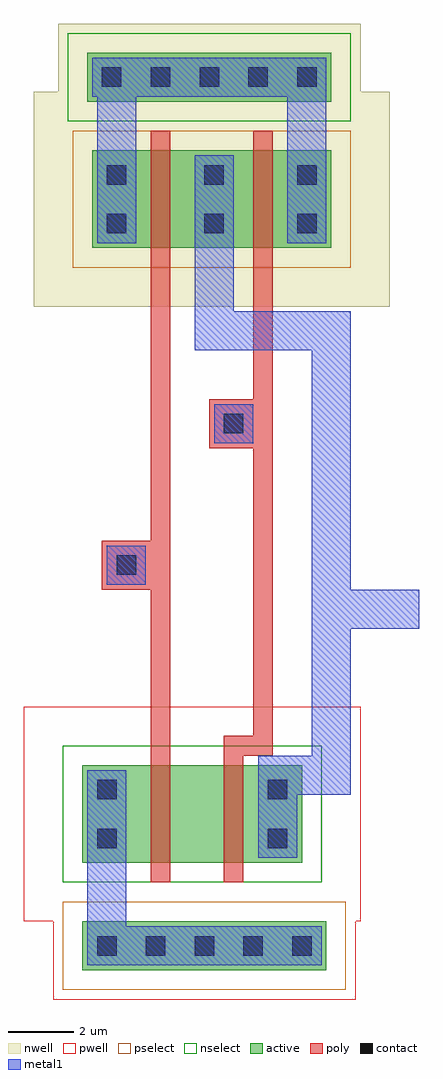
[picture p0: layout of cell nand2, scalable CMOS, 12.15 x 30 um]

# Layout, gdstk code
import gdstk
lib = gdstk.Library(unit=1e-6, precision=1e-09)
def R(c, l, rs):  # rectangles x0, y0, x1, y1
    for r in rs: c.add(gdstk.rectangle(r[:2], r[2:], *l))
def A(c, l, x, y, w, h, nx, ny, dx, dy):  # array of equal rectangles
    R(c, l, [(x+i*dx, y+j*dy, x+i*dx+w, y+j*dy+h) for i in range(nx) for j in range(ny)])
contact = (25, 0)
pwell = (41, 0)
nwell = (42, 0)
active = (43, 0)
pselect = (44, 0)
nselect = (45, 0)
poly = (46, 0)
metal1 = (49, 0)

nand2 = lib.new_cell('nand2')
A(nand2, contact, 1.35, 1.35, 0.6, 0.6, 5, 1, 1.5, 0)
A(nand2, contact, 1.5, 28.05, 0.6, 0.6, 5, 1, 1.5, 0)
R(nand2, contact, [(1.35,4.65,1.95,5.25), (6.6,4.65,7.2,5.25), (1.35,6.15,1.95,6.75), (6.6,6.15,7.2,6.75), (1.95,13.05,2.55,13.65), (5.25,17.4,5.85,18), (1.65,23.55,2.25,24.15), (4.65,23.55,5.25,24.15), (7.5,23.55,8.1,24.15), (1.65,25.05,2.25,25.65), (4.65,25.05,5.25,25.65), (7.5,25.05,8.1,25.65)])
R(nand2, pwell, [(0,0,9.3,3.3), (-0.9,2.4,4.2,9), (0.3,2.4,6.3,9), (2.55,2.4,8.55,9), (4.35,2.4,9.45,9), (-0.6,3.15,4.425,7.65), (4.425,3.45,9.15,7.95), (2.175,3.6,6.675,8.1)])
R(nand2, nwell, [(-0.6,21.3,4.5,27.9), (0.3,21.3,6.3,27.9), (2.4,21.3,7.5,27.9), (3.45,21.3,9.45,27.9), (5.25,21.3,10.35,27.9), (-0.3,23.1,4.425,27.6), (2.175,23.1,7.35,27.6), (2.85,23.1,7.575,27.6), (5.325,23.1,10.2,27.6), (0.15,26.7,9.45,30)])
R(nand2, active, [(0.9,0.9,8.4,2.4), (0.9,4.2,2.4,7.2), (2.1,4.2,4.5,7.2), (4.35,4.2,6.75,7.2), (6.15,4.2,7.65,7.2), (1.2,4.95,2.625,5.85), (6.225,5.25,7.35,6.15), (3.975,5.4,4.875,6.3), (1.2,23.1,2.7,26.1), (2.1,23.1,4.5,26.1), (4.2,23.1,5.7,26.1), (5.25,23.1,7.65,26.1), (7.05,23.1,8.55,26.1), (1.5,24.9,2.625,25.8), (3.975,24.9,5.55,25.8), (4.65,24.9,5.775,25.8), (7.125,24.9,8.4,25.8), (1.05,27.6,8.55,29.1)])
R(nand2, pselect, [(0.3,0.3,9,3), (0.6,22.5,3.3,26.7), (1.5,22.5,5.1,26.7), (3.6,22.5,6.3,26.7), (4.65,22.5,8.25,26.7), (6.45,22.5,9.15,26.7), (0.9,24.3,3.225,26.4), (3.375,24.3,6.15,26.4), (4.05,24.3,6.375,26.4), (6.525,24.3,9,26.4)])
R(nand2, nselect, [(0.3,3.6,3,7.8), (1.5,3.6,5.1,7.8), (3.75,3.6,7.35,7.8), (5.55,3.6,8.25,7.8), (0.6,4.35,3.225,6.45), (5.625,4.65,7.95,6.75), (3.375,4.8,5.475,6.9), (0.45,27,9.15,29.7)])
R(nand2, poly, [(3,3.6,3.6,7.8), (5.25,3.6,5.85,7.8), (3,7.5,3.6,13.5), (5.25,7.5,6.75,8.1), (6.15,7.5,6.75,18.15), (1.5,12.6,3,14.1), (1.8,12.9,3.6,13.5), (3,12.9,3.6,22.8), (4.8,16.95,6.3,18.45), (5.25,17.55,6.75,18.15), (6.15,17.55,6.75,22.8), (3,22.5,3.6,26.7), (6.15,22.5,6.75,26.7)])
R(nand2, metal1, [(1.05,1.05,8.25,2.25), (1.05,1.05,2.25,6.3), (1.05,4.35,2.25,7.05), (6.3,4.35,7.5,7.05), (6.3,5.1,7.5,7.5), (6.3,6.3,9.15,7.5), (7.95,6.3,9.15,12.6), (7.95,11.4,9.15,21.15), (7.95,11.4,11.25,12.6), (1.65,12.75,2.85,13.95), (4.95,17.1,6.15,18.3), (4.35,19.95,7.5,21.15), (4.35,19.95,5.55,25.95), (6.3,19.95,9.15,21.15), (1.35,23.25,2.55,25.95), (4.35,23.25,5.55,25.95), (7.2,23.25,8.4,25.95), (1.35,24,2.55,28.95), (7.2,24,8.4,28.95), (1.2,27.75,8.4,28.95), (3.9,27.75,8.4,28.95)])

lib.write_gds('nand2.gds')
